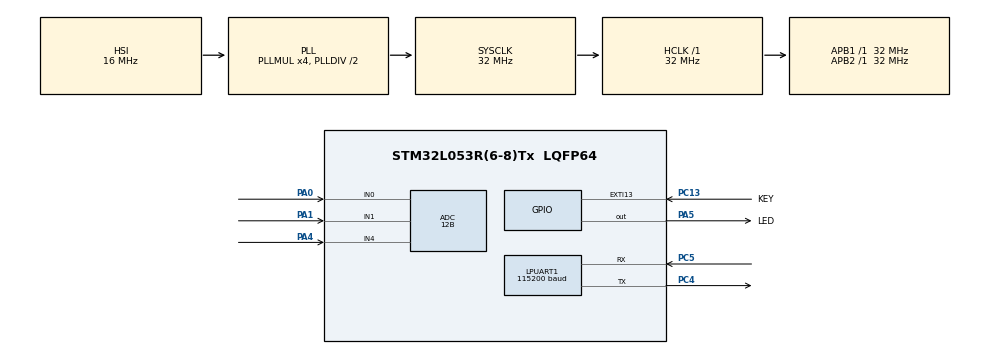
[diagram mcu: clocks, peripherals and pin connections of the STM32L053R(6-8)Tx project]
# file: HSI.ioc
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ADC.ClockPrescaler=ADC_CLOCK_SYNC_PCLK_DIV2
ADC.ContinuousConvMode=ENABLE
ADC.DMAContinuousRequests=ENABLE
ADC.DataAlign=ADC_DATAALIGN_RIGHT
ADC.DiscontinuousConvMode=DISABLE
ADC.EOCSelection=ADC_EOC_SINGLE_SEQ_CONV
ADC.EnableAnalogWatchDog=false
ADC.ExternalTrigConv=ADC_SOFTWARE_START
ADC.ExternalTrigConvEdge=ADC_EXTERNALTRIGCONVEDGE_NONE
ADC.LowPowerAutoPowerOff=DISABLE
ADC.LowPowerAutoWait=DISABLE
ADC.LowPowerFrequencyMode=ENABLE
ADC.Overrun=ADC_OVR_DATA_PRESERVED
ADC.OversamplingMode=DISABLE
ADC.Resolution=ADC_RESOLUTION_12B
ADC.SamplingTime=ADC_SAMPLETIME_1CYCLE_5
ADC.ScanConvMode=ADC_SCAN_DIRECTION_FORWARD
Dma.ADC.0.Direction=DMA_PERIPH_TO_MEMORY
Dma.ADC.0.Instance=DMA1_Channel1
Dma.ADC.0.MemDataAlignment=DMA_MDATAALIGN_WORD
Dma.ADC.0.MemInc=DMA_MINC_ENABLE
Dma.ADC.0.Mode=DMA_CIRCULAR
Dma.ADC.0.PeriphDataAlignment=DMA_PDATAALIGN_WORD
Dma.ADC.0.PeriphInc=DMA_PINC_DISABLE
Dma.ADC.0.Priority=DMA_PRIORITY_LOW
Dma.Request0=ADC
LPTIM1.UpdateMode=LPTIM_UPDATE_IMMEDIATE
LPUART1.BaudRate=115200
LPUART1.WordLength=UART_WORDLENGTH_8B
Mcu.Family=STM32L0
Mcu.Name=STM32L053R(6-8)Tx
Mcu.Package=LQFP64
NVIC.AES_RNG_LPUART1_IRQn=true\:0\:0\:false\:false\:true\:true
NVIC.DMA1_Channel1_IRQn=true\:0\:0\:false\:false\:true\:false
NVIC.EXTI4_15_IRQn=true\:0\:0\:false\:false\:true\:true
NVIC.LPTIM1_IRQn=true\:0\:0\:false\:false\:true\:true
PA0.Mode=IN0
PA0.Signal=ADC_IN0
PA1.Mode=IN1
PA1.Signal=ADC_IN1
PA4.Mode=IN4
PA4.Signal=ADC_IN4
PA5.GPIO_Label=LED
PA5.GPIO_Speed=GPIO_SPEED_FREQ_VERY_HIGH
PA5.Signal=GPIO_Output
PC13.GPIO_Label=KEY
PC13.Signal=GPXTI13
PC4.Mode=Asynchronous
PC4.Signal=LPUART1_TX
PC5.Mode=Asynchronous
PC5.Signal=LPUART1_RX
ProjectManager.HeapSize=0x200
ProjectManager.StackSize=0x400
ProjectManager.TargetToolchain=MDK-ARM V5
RCC.AHBFreq_Value=32000000
RCC.APB1Freq_Value=32000000
RCC.APB1TimFreq_Value=32000000
RCC.APB2Freq_Value=32000000
RCC.APB2TimFreq_Value=32000000
RCC.HCLKFreq_Value=32000000
RCC.HSE_VALUE=8000000
RCC.HSI16_VALUE=16000000
RCC.HSI48_VALUE=48000000
RCC.HSI_VALUE=16000000
RCC.LSE_VALUE=32768
RCC.MSI_VALUE=2097000
RCC.PLLMUL=RCC_PLLMUL_4
RCC.SYSCLKFreq_VALUE=32000000
RCC.SYSCLKSource=RCC_SYSCLKSOURCE_PLLCLK
RCC.VCOOutputFreq_Value=64000000
VP_LPTIM1_VS_LPTIM_counterModeInternalClock.Mode=Counts__internal_clock_event_00
board=HSI

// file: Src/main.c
/**
  ******************************************************************************
  * @file           : main.c
  * @brief          : Main program body
  ******************************************************************************
  ** This notice applies to any and all portions of this file
  * that are not between comment pairs USER CODE BEGIN and
  * USER CODE END. Other portions of this file, whether
  * inserted by the user or by software development tools
  * are owned by their respective copyright owners.
  *
  * COPYRIGHT(c) 2018 STMicroelectronics
  *
  * Redistribution and use in source and binary forms, with or without modification,
  * are permitted provided that the following conditions are met:
  *   1. Redistributions of source code must retain the above copyright notice,
  *      this list of conditions and the following disclaimer.
  *   2. Redistributions in binary form must reproduce the above copyright notice,
  *      this list of conditions and the following disclaimer in the documentation
  *      and/or other materials provided with the distribution.
  *   3. Neither the name of STMicroelectronics nor the names of its contributors
  *      may be used to endorse or promote products derived from this software
  *      without specific prior written permission.
  *
  * THIS SOFTWARE IS PROVIDED BY THE COPYRIGHT HOLDERS AND CONTRIBUTORS "AS IS"
  * AND ANY EXPRESS OR IMPLIED WARRANTIES, INCLUDING, BUT NOT LIMITED TO, THE
  * IMPLIED WARRANTIES OF MERCHANTABILITY AND FITNESS FOR A PARTICULAR PURPOSE ARE
  * DISCLAIMED. IN NO EVENT SHALL THE COPYRIGHT HOLDER OR CONTRIBUTORS BE LIABLE
  * FOR ANY DIRECT, INDIRECT, INCIDENTAL, SPECIAL, EXEMPLARY, OR CONSEQUENTIAL
  * DAMAGES (INCLUDING, BUT NOT LIMITED TO, PROCUREMENT OF SUBSTITUTE GOODS OR
  * SERVICES; LOSS OF USE, DATA, OR PROFITS; OR BUSINESS INTERRUPTION) HOWEVER
  * CAUSED AND ON ANY THEORY OF LIABILITY, WHETHER IN CONTRACT, STRICT LIABILITY,
  * OR TORT (INCLUDING NEGLIGENCE OR OTHERWISE) ARISING IN ANY WAY OUT OF THE USE
  * OF THIS SOFTWARE, EVEN IF ADVISED OF THE POSSIBILITY OF SUCH DAMAGE.
  *
  ******************************************************************************
  */
#include "main.h"
#include "stm32l0xx_hal.h"
#include "adc.h"
#include "dma.h"
#include "lptim.h"
#include "usart.h"
#include "gpio.h"

/* USER CODE BEGIN Includes */
#include "lowpower.h"
/* USER CODE END Includes */

/* USER CODE BEGIN PV */
/* Private variables ---------------------------------------------------------*/

int i;
extern uint8_t u;
extern uint8_t NumofUart;
extern uint8_t value;

uint32_t ADC_Value[150];
uint32_t ad1,ad2,ad3;

/* USER CODE END PV */

void SystemClock_Config(void);

/* USER CODE BEGIN PFP */
/* Private function prototypes -----------------------------------------------*/

/* USER CODE END PFP */

int main(void)
{

  /* MCU Configuration----------------------------------------------------------*/

  /* Reset of all peripherals, Initializes the Flash interface and the Systick. */
  HAL_Init();

  /* Configure the system clock */
  SystemClock_Config();

  /* Initialize all configured peripherals */
  MX_GPIO_Init();
  MX_DMA_Init();
  MX_ADC_Init();
  MX_LPUART1_UART_Init();
  MX_LPTIM1_Init();
  /* USER CODE BEGIN 2 */

  //HAL_LPTIM_TimeOut_Start_IT(&hlptim1,500,100);
	//HAL_ADC_Start_DMA(&hadc, (uint32_t*)&ADC_Value, 150);
	//HAL_ADC_Stop_DMA(&hadc);
  HAL_UART_Receive_IT(&hlpuart1,(uint8_t *)&value,1);//程序不会在这个语句停留，只会按照中断方式把接收到的数存在value中
  printf("\r\n SXZG \r\n");

  /* USER CODE END 2 */

  /* Infinite loop */
  /* USER CODE BEGIN WHILE */
  while (1)
  {
	HAL_Delay(500);
  //printf("\r\n I'm SLEEPING \r\n");
	//LED_BlingBling(3);
	//HAL_ADC_Stop_DMA(&hadc);
   for(i = 0,ad1 =0,ad2=0,ad3=0; i < 150;)
        {
            ad1 += ADC_Value[i++];
            ad2 += ADC_Value[i++];
					  ad3 += ADC_Value[i++];
        }
        ad1 /= 50;
        ad2 /= 50;
				ad3 /= 50;

        printf("****************************** \r\n");
        printf(" AD1(ADC_IN0) value = %1.3fV \r\n", ad1*3.3f/4096);
        printf(" AD2(ADC_IN1) value = %1.3fV \r\n", ad2*3.3f/4096);
				printf(" AD3(ADC_IN4) value = %1.3fV \r\n", ad3*3.3f/4096);
	HAL_ADC_Start_DMA(&hadc, (uint32_t*)&ADC_Value, 150);
	//HAL_Delay(10);
	//SystemPower_Config();
	SleepMode_Measure();

	}

  /* USER CODE END WHILE */

}

void SystemClock_Config(void)
{

  RCC_OscInitTypeDef RCC_OscInitStruct;
  RCC_ClkInitTypeDef RCC_ClkInitStruct;
  RCC_PeriphCLKInitTypeDef PeriphClkInit;

    /**Configure the main internal regulator output voltage
    */
  __HAL_PWR_VOLTAGESCALING_CONFIG(PWR_REGULATOR_VOLTAGE_SCALE1);

    /**Initializes the CPU, AHB and APB busses clocks
    */
  RCC_OscInitStruct.OscillatorType = RCC_OSCILLATORTYPE_HSI;
  RCC_OscInitStruct.HSIState = RCC_HSI_ON;
  RCC_OscInitStruct.HSICalibrationValue = 16;
  RCC_OscInitStruct.PLL.PLLState = RCC_PLL_ON;
  RCC_OscInitStruct.PLL.PLLSource = RCC_PLLSOURCE_HSI;
  RCC_OscInitStruct.PLL.PLLMUL = RCC_PLLMUL_4;
  RCC_OscInitStruct.PLL.PLLDIV = RCC_PLLDIV_2;
  if (HAL_RCC_OscConfig(&RCC_OscInitStruct) != HAL_OK)
  {
    _Error_Handler(__FILE__, __LINE__);
  }

    /**Initializes the CPU, AHB and APB busses clocks
    */
  RCC_ClkInitStruct.ClockType = RCC_CLOCKTYPE_HCLK|RCC_CLOCKTYPE_SYSCLK
                              |RCC_CLOCKTYPE_PCLK1|RCC_CLOCKTYPE_PCLK2;
  RCC_ClkInitStruct.SYSCLKSource = RCC_SYSCLKSOURCE_PLLCLK;
  RCC_ClkInitStruct.AHBCLKDivider = RCC_SYSCLK_DIV1;
  RCC_ClkInitStruct.APB1CLKDivider = RCC_HCLK_DIV1;
  RCC_ClkInitStruct.APB2CLKDivider = RCC_HCLK_DIV1;

  if (HAL_RCC_ClockConfig(&RCC_ClkInitStruct, FLASH_LATENCY_1) != HAL_OK)
  {
    _Error_Handler(__FILE__, __LINE__);
  }

  PeriphClkInit.PeriphClockSelection = RCC_PERIPHCLK_LPUART1|RCC_PERIPHCLK_LPTIM1;
  PeriphClkInit.Lpuart1ClockSelection = RCC_LPUART1CLKSOURCE_PCLK1;
  PeriphClkInit.LptimClockSelection = RCC_LPTIM1CLKSOURCE_PCLK;

  if (HAL_RCCEx_PeriphCLKConfig(&PeriphClkInit) != HAL_OK)
  {
    _Error_Handler(__FILE__, __LINE__);
  }

    /**Configure the Systick interrupt time
    */
  HAL_SYSTICK_Config(HAL_RCC_GetHCLKFreq()/1000);

    /**Configure the Systick
    */
  HAL_SYSTICK_CLKSourceConfig(SYSTICK_CLKSOURCE_HCLK);

  /* SysTick_IRQn interrupt configuration */
  HAL_NVIC_SetPriority(SysTick_IRQn, 0, 0);
}

/* USER CODE BEGIN 4 */

void SystemHSIClock_Off(void)
{
  //RCC_ClkInitTypeDef RCC_ClkInitStruct;
  RCC_OscInitTypeDef RCC_OscInitStruct;

	__HAL_RCC_PWR_CLK_ENABLE();

	__HAL_PWR_VOLTAGESCALING_CONFIG(PWR_REGULATOR_VOLTAGE_SCALE3);

	RCC_OscInitStruct.OscillatorType = RCC_OSCILLATORTYPE_HSI;
	RCC_OscInitStruct.HSEState = RCC_HSE_OFF;
  RCC_OscInitStruct.HSIState = RCC_HSI_OFF;
  RCC_OscInitStruct.PLL.PLLState = RCC_PLL_OFF;
  RCC_OscInitStruct.HSICalibrationValue = 0x10;
  if(HAL_RCC_OscConfig(&RCC_OscInitStruct) != HAL_OK)
  {
    Error_Handler();
  }

	/*
     //Select PLL as system clock source and configure the HCLK, PCLK1 and PCLK2 clocks dividers
  RCC_ClkInitStruct.ClockType = (RCC_CLOCKTYPE_SYSCLK | RCC_CLOCKTYPE_HCLK | RCC_CLOCKTYPE_PCLK1 | RCC_CLOCKTYPE_PCLK2);
  RCC_ClkInitStruct.SYSCLKSource = RCC_SYSCLKSOURCE_HSI;
  RCC_ClkInitStruct.AHBCLKDivider = RCC_SYSCLK_DIV2;
  RCC_ClkInitStruct.APB1CLKDivider = RCC_HCLK_DIV1;
  RCC_ClkInitStruct.APB2CLKDivider = RCC_HCLK_DIV1;
  if(HAL_RCC_ClockConfig(&RCC_ClkInitStruct, FLASH_LATENCY_1) != HAL_OK)
  {
    Error_Handler();
  }
	*/
}

void SystemMSIClock_Config(void)
{

  RCC_OscInitTypeDef RCC_OscInitStruct;
  RCC_ClkInitTypeDef RCC_ClkInitStruct;
  RCC_PeriphCLKInitTypeDef PeriphClkInit;

    /**Configure the main internal regulator output voltage
    */
  __HAL_PWR_VOLTAGESCALING_CONFIG(PWR_REGULATOR_VOLTAGE_SCALE1);

    /**Initializes the CPU, AHB and APB busses clocks
    */
  RCC_OscInitStruct.OscillatorType = RCC_OSCILLATORTYPE_MSI;
  RCC_OscInitStruct.MSIState = RCC_MSI_ON;
  RCC_OscInitStruct.MSICalibrationValue = 0;
  RCC_OscInitStruct.MSIClockRange = RCC_MSIRANGE_6;
  RCC_OscInitStruct.PLL.PLLState = RCC_PLL_NONE;
  if (HAL_RCC_OscConfig(&RCC_OscInitStruct) != HAL_OK)
  {
    _Error_Handler(__FILE__, __LINE__);
  }

    /**Initializes the CPU, AHB and APB busses clocks
    */
  RCC_ClkInitStruct.ClockType = RCC_CLOCKTYPE_HCLK|RCC_CLOCKTYPE_SYSCLK
                              |RCC_CLOCKTYPE_PCLK1|RCC_CLOCKTYPE_PCLK2;
  RCC_ClkInitStruct.SYSCLKSource = RCC_SYSCLKSOURCE_MSI;
  RCC_ClkInitStruct.AHBCLKDivider = RCC_SYSCLK_DIV1;
  RCC_ClkInitStruct.APB1CLKDivider = RCC_HCLK_DIV1;
  RCC_ClkInitStruct.APB2CLKDivider = RCC_HCLK_DIV1;

  if (HAL_RCC_ClockConfig(&RCC_ClkInitStruct, FLASH_LATENCY_0) != HAL_OK)
  {
    _Error_Handler(__FILE__, __LINE__);
  }

  PeriphClkInit.PeriphClockSelection = RCC_PERIPHCLK_LPUART1;
  PeriphClkInit.Lpuart1ClockSelection = RCC_LPUART1CLKSOURCE_PCLK1;
  if (HAL_RCCEx_PeriphCLKConfig(&PeriphClkInit) != HAL_OK)
  {
    _Error_Handler(__FILE__, __LINE__);
  }

    /**Configure the Systick interrupt time
    */
  HAL_SYSTICK_Config(HAL_RCC_GetHCLKFreq()/1000);

    /**Configure the Systick
    */
  HAL_SYSTICK_CLKSourceConfig(SYSTICK_CLKSOURCE_HCLK);

  /* SysTick_IRQn interrupt configuration */
  HAL_NVIC_SetPriority(SysTick_IRQn, 0, 0);

  __HAL_RCC_MSI_RANGE_CONFIG(RCC_MSIRANGE_0);   //MSI设为65.536 KHz

}

static void SystemPower_Config(void)
{
  GPIO_InitTypeDef GPIO_InitStructure;

  /* Enable Ultra low power mode */
  HAL_PWREx_EnableUltraLowPower();

  /* Enable the fast wake up from Ultra low power mode */
  HAL_PWREx_EnableFastWakeUp();

  /* Enable GPIOs clock */
  __HAL_RCC_GPIOA_CLK_ENABLE();
  __HAL_RCC_GPIOB_CLK_ENABLE();
  __HAL_RCC_GPIOC_CLK_ENABLE();
  __HAL_RCC_GPIOD_CLK_ENABLE();
  __HAL_RCC_GPIOH_CLK_ENABLE();

  /* Configure all GPIO port pins in Analog Input mode (floating input trigger OFF) */
  GPIO_InitStructure.Pin = GPIO_PIN_All;
  GPIO_InitStructure.Mode = GPIO_MODE_ANALOG;
  GPIO_InitStructure.Pull = GPIO_NOPULL;
  HAL_GPIO_Init(GPIOA, &GPIO_InitStructure);
  HAL_GPIO_Init(GPIOB, &GPIO_InitStructure);
  HAL_GPIO_Init(GPIOC, &GPIO_InitStructure);
  HAL_GPIO_Init(GPIOD, &GPIO_InitStructure);
  HAL_GPIO_Init(GPIOH, &GPIO_InitStructure);

  /* Disable GPIOs clock */
  __HAL_RCC_GPIOA_CLK_DISABLE();
  __HAL_RCC_GPIOB_CLK_DISABLE();
  __HAL_RCC_GPIOC_CLK_DISABLE();
  __HAL_RCC_GPIOD_CLK_DISABLE();
  __HAL_RCC_GPIOH_CLK_DISABLE();

}
/* USER CODE END 4 */

void _Error_Handler(char *file, int line)
{
  while(1)
  {
  }
}

/************************ (C) COPYRIGHT STMicroelectronics *****END OF FILE****/
